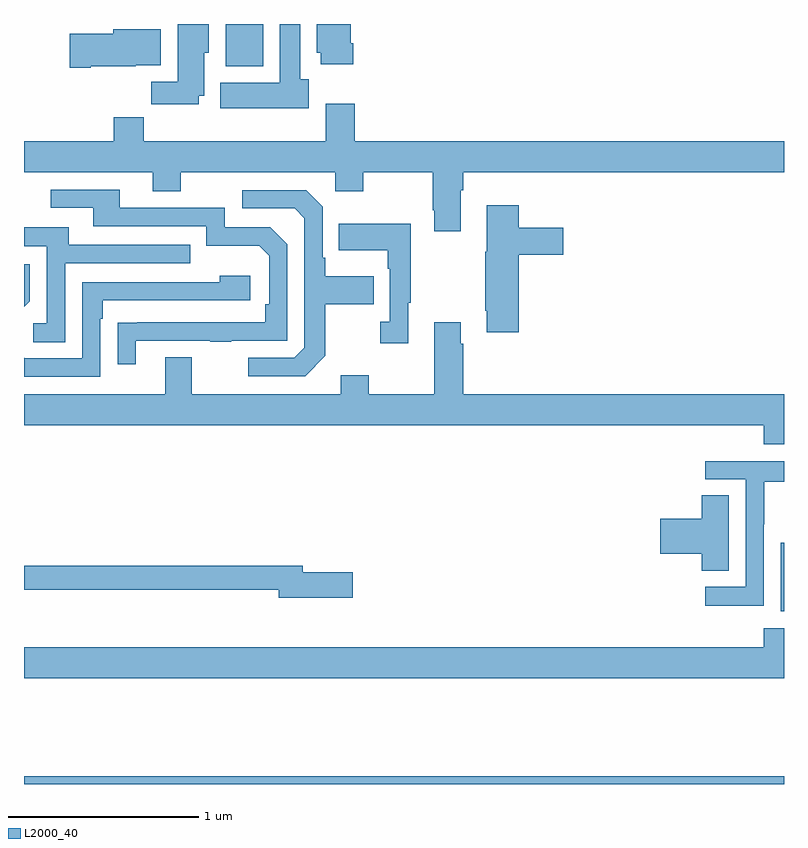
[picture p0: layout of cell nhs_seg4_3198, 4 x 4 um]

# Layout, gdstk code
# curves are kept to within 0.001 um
import gdstk
lib = gdstk.Library(unit=1e-6, precision=1e-09)
def R(c, l, rs):  # rectangles x0, y0, x1, y1
    for r in rs: c.add(gdstk.rectangle(r[:2], r[2:], *l))
def P(c, l, *ps):  # polygons
    for p in ps: c.add(gdstk.Polygon(p, *l))
L2000_40 = (2000, 40)

nhs_seg4_3198 = lib.new_cell('nhs_seg4_3198')
R(nhs_seg4_3198, L2000_40, [(279,826.9,283,826.94), (282.983,827.81,283,828.171), (280.061,830.678,280.258,830.9)])
P(nhs_seg4_3198, L2000_40, [(280.733,830.8),(280.72,830.8),(280.72,830.9),(280.541,830.9),(280.541,830.748),(280.562,830.748),(280.562,830.688),(280.733,830.688)],
  [(279.919,830.522),(279.949,830.522),(279.949,830.748),(279.973,830.748),(279.973,830.9),(279.809,830.9),(279.809,830.596),(279.67,830.596),(279.67,830.478),(279.919,830.478)],
  [(280.498,830.61),(280.453,830.61),(280.453,830.9),(280.346,830.9),(280.346,830.59),(280.034,830.59),(280.034,830.456),(280.498,830.456)],
  [(279.352,830.678),(279.588,830.678),(279.588,830.684),(279.721,830.684),(279.721,830.872),(279.47,830.872),(279.47,830.849),(279.24,830.849),(279.24,830.671),(279.352,830.671)],
  [(281.299,830.024),(281.312,830.024),(281.312,830.12),(283,830.12),(283,830.284),(280.742,830.284),(280.742,830.479),(280.589,830.479),(280.589,830.284),(279.629,830.284),(279.629,830.408),(279.473,830.408),(279.473,830.284),(279,830.284),(279,830.12),(279.677,830.12),(279.677,830.021),(279.825,830.021),(279.825,830.12),(280.638,830.12),(280.638,830.021),(280.785,830.021),(280.785,830.12),(281.152,830.12),(281.152,829.921),(281.159,829.921),(281.159,829.809),(281.299,829.809)],
  [(279.589,829.233),(279.979,829.233),(279.979,829.228),(280.091,829.228),(280.091,829.233),(280.386,829.233),(280.386,829.74),(280.296,829.83),(280.056,829.83),(280.056,829.932),(279.505,829.932),(279.505,830.028),(279.141,830.028),(279.141,829.932),(279.365,829.932),(279.365,829.836),(279.96,829.836),(279.96,829.733),(280.237,829.733),(280.29,829.68),(280.29,829.426),(280.27,829.426),(280.27,829.329),(279.493,829.328),(279.493,829.11),(279.589,829.11)],
  [(280.585,829.153),(280.585,829.426),(280.841,829.426),(280.841,829.573),(280.585,829.573),(280.585,829.669),(280.572,829.669),(280.572,829.938),(280.485,830.025),(280.149,830.025),(280.149,829.929),(280.425,829.929),(280.476,829.878),(280.476,829.197),(280.422,829.143),(280.179,829.143),(280.179,829.047),(280.479,829.047)],
  [(281.603,829.685),(281.839,829.685),(281.839,829.827),(281.603,829.827),(281.603,829.945),(281.435,829.945),(281.435,829.701),(281.428,829.701),(281.428,829.39),(281.435,829.39),(281.435,829.278),(281.603,829.278)],
  [(281.023,829.433),(281.035,829.433),(281.035,829.849),(280.657,829.849),(280.657,829.709),(280.914,829.709),(280.914,829.613),(280.926,829.613),(280.926,829.334),(280.875,829.334),(280.875,829.221),(281.023,829.221)],
  [(279.216,829.641),(279.875,829.641),(279.875,829.737),(279.235,829.737),(279.235,829.831),(279,829.831),(279,829.731),(279.12,829.731),(279.12,829.326),(279.048,829.326),(279.048,829.225),(279.216,829.225)],
  [(279.03,829.442),(279.03,829.636),(279,829.636),(279,829.412)],
  [(279.402,829.349),(279.415,829.349),(279.415,829.446),(280.192,829.446),(280.192,829.576),(280.031,829.576),(280.031,829.542),(279.306,829.542),(279.306,829.14),(279.003,829.14),(279,829.143),(279,829.044),(279.402,829.044)],
  [(283,828.952),(281.312,828.952),(281.312,829.217),(281.299,829.217),(281.299,829.33),(281.159,829.33),(281.159,828.952),(280.815,828.952),(280.815,829.051),(280.667,829.051),(280.667,828.952),(279.883,828.952),(279.883,829.147),(279.743,829.147),(279.743,828.952),(279,828.952),(279,828.788),(282.893,828.788),(282.893,828.689),(283,828.689)],
  [(282.894,828.268),(282.897,828.268),(282.897,828.492),(283,828.492),(283,828.6),(282.585,828.6),(282.585,828.504),(282.798,828.504),(282.798,827.937),(282.585,827.937),(282.585,827.839),(282.894,827.839)],
  [(282.709,828.419),(282.566,828.419),(282.566,828.296),(282.348,828.296),(282.348,828.113),(282.566,828.113),(282.566,828.022),(282.709,828.022)],
  [(280.729,828.014),(280.468,828.014),(280.468,828.05),(279,828.05),(279,827.922),(280.34,827.922),(280.34,827.879),(280.729,827.879)],
  [(283,827.719),(282.893,827.719),(282.893,827.62),(279,827.62),(279,827.456),(283,827.456)])

lib.write_gds('nhs_seg4_3198.gds')
